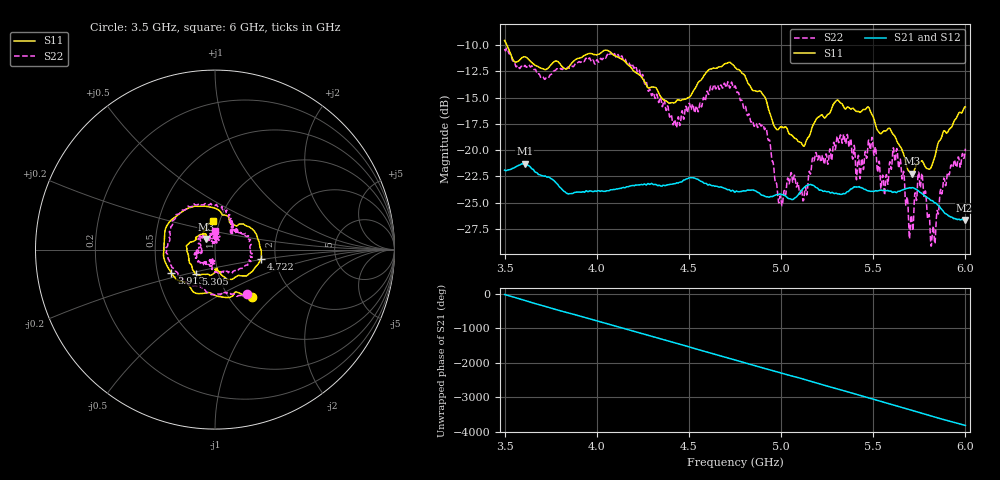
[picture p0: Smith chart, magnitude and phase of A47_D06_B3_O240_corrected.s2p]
! Created with skrf 1.9.0 (http://scikit-rf.org).
# Hz S RI R 50.0
!freq ReS11 ImS11 ReS21 ImS21 ReS12 ImS12 ReS22 ImS22
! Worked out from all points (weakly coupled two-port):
!   1601 points, 3.5 GHz to 6 GHz, reference 50 ohm
!   highest |S21| = -21.28 dB at 3.609 GHz (marker M1); lowest = -26.7 dB at 5.995 GHz (marker M2)
!   lowest |S11| = -22.2 dB at 5.711 GHz (marker M3), VSWR 1.17, Z = 44.9 + j5.34 ohm
!   |S11| at or under -10 dB: 3.513 GHz to end of sweep
!   |S22| runs from -29.1 to -10.3 dB; largest |S21 - S12| = 0.00096
!   S11 on the Smith chart (normalised r, x): 3.5 GHz: 1.27, -0.75; 3.913 GHz: 0.59, -0.17; 4.722 GHz: 1.68, -0.18; 5.305 GHz: 0.78, -0.22; 6 GHz: 0.93, +0.31
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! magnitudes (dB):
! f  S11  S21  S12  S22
! 3.5 GHz  -9.6  -21.9  -21.9  -10.4
! 3.609 GHz  -11.1  -21.3  -21.3  -11.9
! 3.913 GHz  -11.2  -24.0  -24.0  -11.6
! 3.917 GHz  -11.2  -24.0  -24.0  -11.6
! 4.127 GHz  -11.2  -23.6  -23.6  -11.3
! 4.334 GHz  -14.5  -23.4  -23.3  -15.4
! 4.425 GHz  -15.5  -23.2  -23.1  -17.2
! 4.722 GHz  -11.6  -23.8  -23.8  -14.1
! 4.75 GHz  -12.1  -24.0  -23.9  -13.9
! 4.912 GHz  -14.9  -24.4  -24.3  -18.0
! 4.995 GHz  -17.8  -24.2  -24.1  -24.3
! 5.13 GHz  -19.5  -23.5  -23.5  -23.6
! 5.167 GHz  -17.9  -23.3  -23.3  -21.1
! 5.305 GHz  -15.2  -24.1  -24.1  -18.7
! 5.584 GHz  -17.9  -23.9  -23.8  -22.2
! 5.638 GHz  -19.4  -23.9  -23.9  -21.6
! 5.711 GHz  -22.2  -23.6  -23.5  -27.0
! 5.756 GHz  -21.1  -24.0  -24.0  -23.6
! 5.825 GHz  -21.1  -24.8  -24.8  -27.2
! 5.875 GHz  -18.5  -25.7  -25.6  -23.9
! 5.995 GHz  -15.9  -26.7  -26.6  -20.5
! 6 GHz  -15.9  -26.6  -26.6  -19.9
